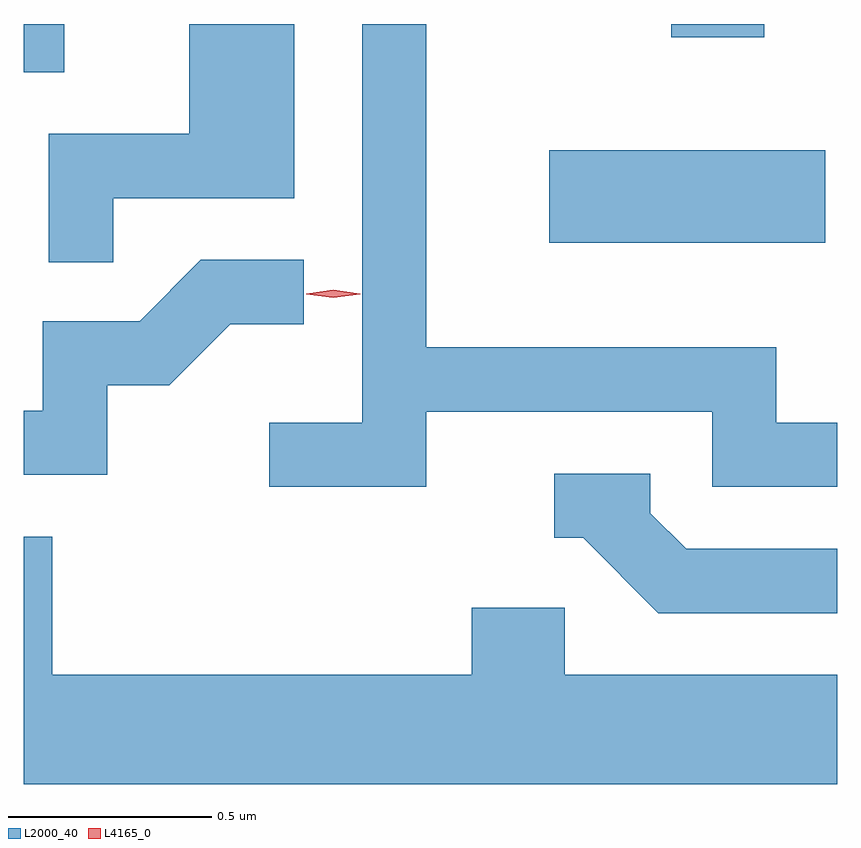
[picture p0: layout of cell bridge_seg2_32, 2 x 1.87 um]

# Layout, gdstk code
import gdstk
lib = gdstk.Library(unit=1e-6, precision=1e-09)
def R(c, l, rs):  # rectangles x0, y0, x1, y1
    for r in rs: c.add(gdstk.rectangle(r[:2], r[2:], *l))
def P(c, l, *ps):  # polygons
    for p in ps: c.add(gdstk.Polygon(p, *l))
L2000_40 = (2000, 40)
L4165_0 = (4165, 0)

bridge_seg2_32 = lib.new_cell('bridge_seg2_32')
R(bridge_seg2_32, L2000_40, [(1570.721,1000.806,1571.399,1001.034), (1569.429,1001.226,1569.529,1001.344), (1571.021,1001.311,1571.249,1001.344)])
P(bridge_seg2_32, L2000_40, [(1570.419,1000.391),(1571.121,1000.391),(1571.121,1000.206),(1571.429,1000.206),(1571.429,1000.364),(1571.279,1000.364),(1571.279,1000.549),(1570.419,1000.549),(1570.419,1001.344),(1570.261,1001.344),(1570.261,1000.364),(1570.033,1000.364),(1570.033,1000.206),(1570.419,1000.206)],
  [(1569.649,1000.916),(1570.094,1000.916),(1570.094,1001.344),(1569.836,1001.344),(1569.836,1001.074),(1569.491,1001.074),(1569.491,1000.758),(1569.649,1000.758)],
  [(1569.634,1000.456),(1569.787,1000.456),(1569.937,1000.606),(1570.118,1000.606),(1570.118,1000.764),(1569.864,1000.764),(1569.714,1000.614),(1569.476,1000.614),(1569.476,1000.394),(1569.429,1000.394),(1569.429,1000.236),(1569.634,1000.236)],
  [(1571.429,1000.054),(1571.057,1000.054),(1570.969,1000.142),(1570.969,1000.239),(1570.733,1000.239),(1570.733,1000.081),(1570.804,1000.081),(1570.989,999.896),(1571.429,999.896)],
  [(1571.429,999.744),(1570.759,999.744),(1570.759,999.909),(1570.531,999.909),(1570.531,999.744),(1569.499,999.744),(1569.499,1000.084),(1569.429,1000.084),(1569.429,999.476),(1571.429,999.476)])
P(bridge_seg2_32, L4165_0, [(1570.19,1000.671),(1570.123,1000.68),(1570.123,1000.681),(1570.123,1000.681),(1570.19,1000.691),(1570.256,1000.681),(1570.256,1000.681),(1570.256,1000.68)])

lib.write_gds('bridge_seg2_32.gds')
